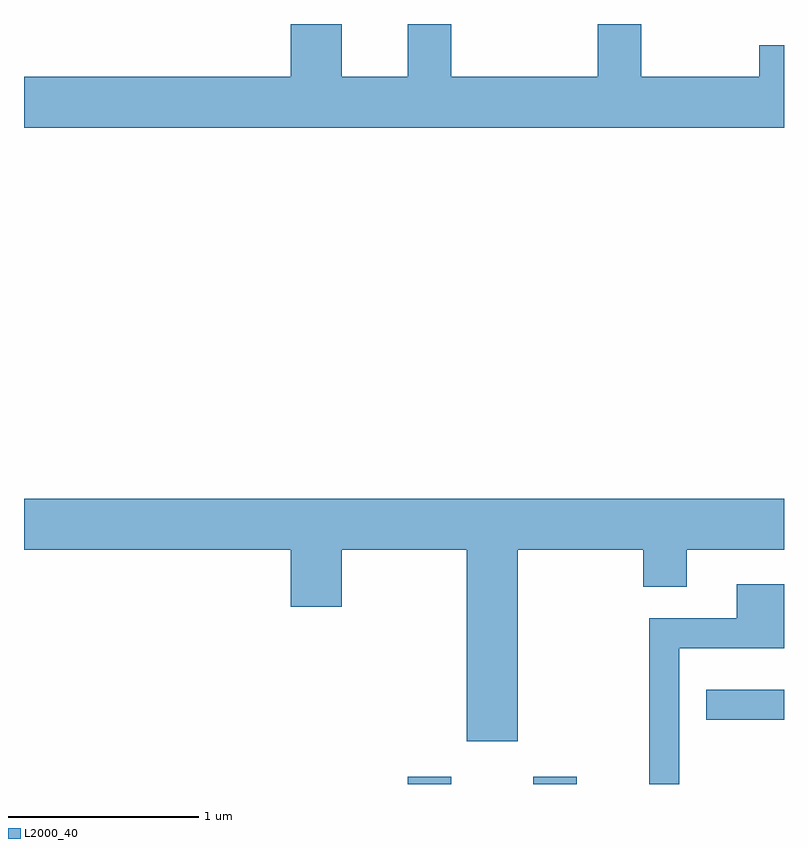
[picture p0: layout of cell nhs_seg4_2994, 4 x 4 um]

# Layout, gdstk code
import gdstk
lib = gdstk.Library(unit=1e-6, precision=1e-09)
def R(c, l, rs):  # rectangles x0, y0, x1, y1
    for r in rs: c.add(gdstk.rectangle(r[:2], r[2:], *l))
def P(c, l, *ps):  # polygons
    for p in ps: c.add(gdstk.Polygon(p, *l))
L2000_40 = (2000, 40)

nhs_seg4_2994 = lib.new_cell('nhs_seg4_2994')
R(nhs_seg4_2994, L2000_40, [(275.631,1257.982,275.859,1258.019), (276.291,1257.982,276.519,1258.019), (277.203,1258.321,277.611,1258.479)])
P(nhs_seg4_2994, L2000_40, [(277.611,1261.869),(277.481,1261.869),(277.481,1261.704),(276.859,1261.704),(276.859,1261.982),(276.631,1261.982),(276.631,1261.704),(275.859,1261.704),(275.859,1261.982),(275.631,1261.982),(275.631,1261.704),(275.284,1261.704),(275.284,1261.982),(275.016,1261.982),(275.016,1261.704),(273.611,1261.704),(273.611,1261.436),(277.611,1261.436)],
  [(276.209,1259.216),(276.871,1259.216),(276.871,1259.021),(277.099,1259.021),(277.099,1259.216),(277.611,1259.216),(277.611,1259.484),(273.611,1259.484),(273.611,1259.216),(275.016,1259.216),(275.016,1258.916),(275.284,1258.916),(275.284,1259.216),(275.941,1259.216),(275.941,1258.206),(276.209,1258.206)],
  [(277.059,1258.696),(277.611,1258.696),(277.611,1259.034),(277.361,1259.034),(277.361,1258.854),(276.901,1258.854),(276.901,1257.982),(277.059,1257.982)])

lib.write_gds('nhs_seg4_2994.gds')
